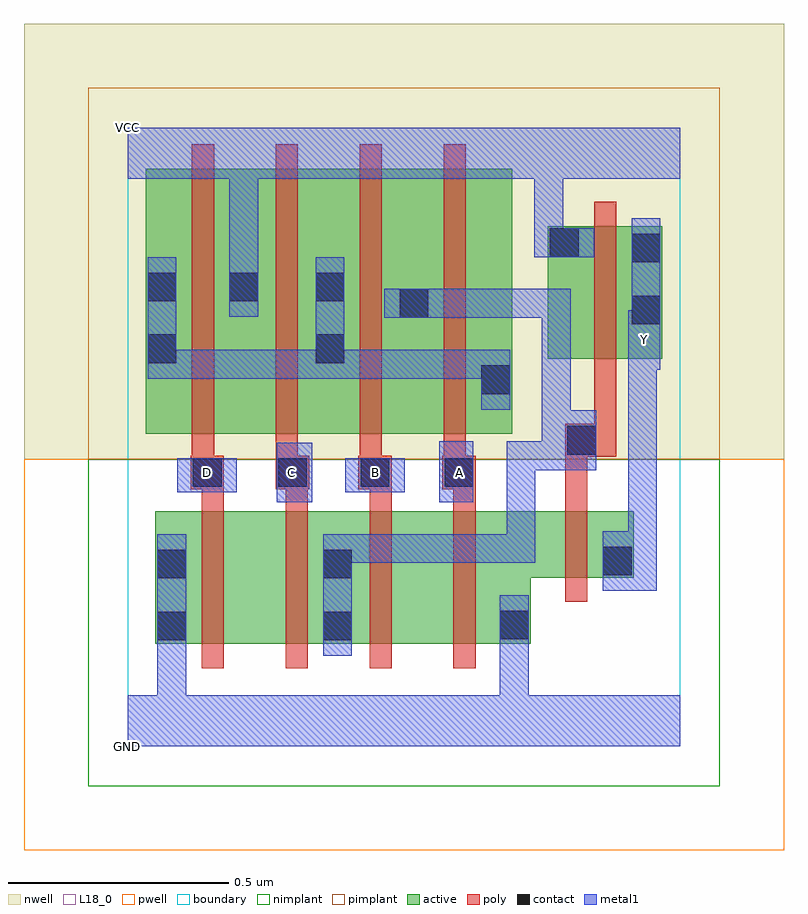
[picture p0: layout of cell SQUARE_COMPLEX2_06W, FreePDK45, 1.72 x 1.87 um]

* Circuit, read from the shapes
.subckt SQUARE_COMPLEX2_06W A B C D GND VCC Y
M1 n1 D GND VSUBS nfet w=0.3u l=0.05u
M2 n2 C n1 VSUBS nfet w=0.3u l=0.05u
M3 n3 B n2 VSUBS nfet w=0.3u l=0.05u
M4 GND A n3 VSUBS nfet w=0.3u l=0.05u
M5 Y n2 GND VSUBS nfet w=0.15u l=0.05u
M6 VCC D n4 n5 pfet w=0.6u l=0.05u
M7 n4 C VCC n5 pfet w=0.6u l=0.05u
M8 n2 B n4 n5 pfet w=0.6u l=0.05u
M9 n4 A n2 n5 pfet w=0.6u l=0.05u
M10 Y n2 VCC n5 pfet w=0.3u l=0.05u
.ends

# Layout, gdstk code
import gdstk
lib = gdstk.Library(unit=1e-6, precision=1e-09)
def R(c, l, rs):  # rectangles x0, y0, x1, y1
    for r in rs: c.add(gdstk.rectangle(r[:2], r[2:], *l))
def A(c, l, x, y, w, h, nx, ny, dx, dy):  # array of equal rectangles
    R(c, l, [(x+i*dx, y+j*dy, x+i*dx+w, y+j*dy+h) for i in range(nx) for j in range(ny)])
active = (1, 0)
pwell = (2, 0)
nwell = (3, 0)
nimplant = (4, 0)
pimplant = (5, 0)
poly = (9, 0)
contact = (10, 0)
metal1 = (11, 0)
L18_0 = (18, 0)
boundary = (235, 0)

square_complex2_06w = lib.new_cell('SQUARE_COMPLEX2_06W')
R(square_complex2_06w, active, [(0.062,0.232,0.287,0.532), (0.062,0.232,0.137,0.532), (0.287,0.232,0.512,0.532), (0.437,0.232,0.667,0.532), (0.437,0.232,0.512,0.45), (0.667,0.232,0.912,0.532), (0.837,0.232,0.912,0.442), (0.837,0.382,1.145,0.532), (1.07,0.382,1.145,0.532), (0.04,0.707,0.3,1.307), (0.04,0.707,0.115,1.2), (0.225,0.707,0.495,1.307), (0.225,0.707,0.3,1.305), (0.42,0.707,0.495,1.2), (0.42,0.707,0.685,1.307), (0.61,0.707,0.87,1.307), (0.61,0.707,0.685,1.2), (0.795,0.707,0.87,1.047), (0.95,0.877,1.21,1.177), (1.135,0.877,1.21,1.165), (0.95,0.965,1.025,1.177)])
R(square_complex2_06w, pwell, [(-0.235,-0.235,1.485,0.65)])
R(square_complex2_06w, nwell, [(-0.235,0.65,1.485,1.635)])
R(square_complex2_06w, nimplant, [(-0.09,-0.09,1.34,0.65)])
R(square_complex2_06w, pimplant, [(-0.09,0.65,1.34,1.49)])
A(square_complex2_06w, poly, 0.167, 0.177, 0.05, 0.41, 4, 1, 0.19, 0)
A(square_complex2_06w, poly, 0.167, 0.537, 0.05, 0.095, 4, 1, 0.19, 0)
A(square_complex2_06w, poly, 0.145, 0.607, 0.05, 0.095, 4, 1, 0.19, 0)
A(square_complex2_06w, poly, 0.145, 0.652, 0.05, 0.71, 4, 1, 0.19, 0)
R(square_complex2_06w, poly, [(0.99,0.327,1.04,0.587), (0.99,0.537,1.04,0.705), (0.142,0.582,0.217,0.657), (0.335,0.582,0.41,0.657), (0.522,0.582,0.597,0.657), (0.712,0.582,0.787,0.657), (0.99,0.655,1.105,0.73), (1.055,0.68,1.105,0.872), (1.055,0.822,1.105,1.232)])
R(square_complex2_06w, contact, [(0.067,0.24,0.132,0.305), (0.442,0.24,0.507,0.305), (0.842,0.242,0.907,0.307), (0.067,0.38,0.132,0.445), (0.442,0.38,0.507,0.445), (1.075,0.387,1.14,0.452), (0.147,0.587,0.212,0.652), (0.34,0.587,0.405,0.652), (0.527,0.587,0.592,0.652), (0.717,0.587,0.782,0.652), (0.995,0.66,1.06,0.725), (0.8,0.797,0.865,0.862), (0.045,0.867,0.11,0.932), (0.425,0.867,0.49,0.932), (1.14,0.955,1.205,1.02), (0.615,0.97,0.68,1.035), (0.045,1.007,0.11,1.072), (0.23,1.007,0.295,1.072), (0.425,1.007,0.49,1.072), (1.14,1.095,1.205,1.16), (0.955,1.107,1.02,1.172)])
R(square_complex2_06w, metal1, [(0,0,1.25,0.115), (0.067,0.05,0.132,0.27), (0.842,0.05,0.907,0.115), (0.842,0.05,0.907,0.115), (0.842,0.05,0.907,0.115), (0.842,0.05,0.907,0.115), (0.842,0.05,0.907,0.272), (0.067,0.205,0.132,0.27), (0.067,0.205,0.132,0.27), (0.067,0.205,0.132,0.27), (0.067,0.205,0.132,0.27), (0.067,0.205,0.132,0.48), (0.442,0.205,0.507,0.48), (0.842,0.207,0.907,0.342), (1.075,0.352,1.197,0.487), (0.442,0.415,0.507,0.48), (0.442,0.415,0.507,0.48), (0.442,0.415,0.645,0.48), (0.58,0.415,0.645,0.48), (0.58,0.415,0.645,0.48), (0.58,0.415,0.645,0.48), (0.58,0.415,0.922,0.48), (0.857,0.415,0.922,0.48), (0.857,0.415,0.922,0.69), (1.132,0.422,1.197,0.917), (0.337,0.552,0.417,0.687), (0.705,0.552,0.782,0.69), (0.112,0.575,0.247,0.652), (0.492,0.575,0.627,0.652), (0.857,0.625,0.922,0.69), (0.857,0.625,1.002,0.69), (0.937,0.625,1.002,0.69), (0.937,0.625,1.06,0.69), (0.937,0.625,1.002,1.035), (0.995,0.625,1.06,0.76), (0.8,0.762,0.865,0.897), (0.045,0.832,0.11,0.897), (0.045,0.832,0.11,0.897), (0.045,0.832,0.11,1.107), (0.045,0.832,0.352,0.897), (0.287,0.832,0.352,0.897), (0.287,0.832,0.352,0.897), (0.287,0.832,0.352,0.897), (0.287,0.832,0.49,0.897), (0.425,0.832,0.49,0.897), (0.425,0.832,0.49,0.897), (0.425,0.832,0.49,1.107), (0.425,0.832,0.645,0.897), (0.58,0.832,0.645,0.897), (0.58,0.832,0.645,0.897), (0.58,0.832,0.645,0.897), (0.58,0.832,0.865,0.897), (1.132,0.852,1.205,0.987), (1.14,0.92,1.205,1.195), (1.14,0.922,1.205,0.987), (0.58,0.97,0.715,1.035), (0.65,0.97,0.715,1.035), (0.65,0.97,0.715,1.035), (0.65,0.97,0.852,1.035), (0.787,0.97,0.852,1.035), (0.787,0.97,1.002,1.035), (0.937,0.97,1.002,1.035), (0.937,0.97,1.002,1.035), (0.937,0.97,1.002,1.035), (0.23,0.972,0.295,1.107), (0.23,1.042,0.295,1.35), (0.92,1.107,0.985,1.172), (0.92,1.107,0.985,1.172), (0.92,1.107,0.985,1.35), (0.92,1.107,1.055,1.172), (0,1.285,1.25,1.4), (0.92,1.285,0.985,1.35), (0.92,1.285,0.985,1.35)])
A(square_complex2_06w, L18_0, 0.147, 0.587, 0.065, 0.065, 4, 1, 0.19, 0)
R(square_complex2_06w, L18_0, [(0,0,1.25,0.115), (0.067,0.05,0.132,0.27), (0.842,0.05,0.907,0.115), (0.842,0.05,0.907,0.115), (0.842,0.05,0.907,0.115), (0.842,0.05,0.907,0.115), (0.842,0.05,0.907,0.272), (0.067,0.205,0.132,0.27), (0.067,0.205,0.132,0.27), (0.067,0.205,0.132,0.27), (0.067,0.205,0.132,0.27), (0.067,0.205,0.132,0.48), (0.842,0.207,0.907,0.342), (1.075,0.352,1.197,0.487), (1.132,0.422,1.197,0.917), (0.337,0.552,0.417,0.687), (0.705,0.552,0.782,0.69), (0.112,0.575,0.247,0.652), (0.492,0.575,0.627,0.652), (1.132,0.852,1.205,0.987), (1.137,0.887,1.202,0.952), (1.14,0.92,1.205,1.195), (1.14,0.922,1.205,0.987), (0.23,0.972,0.295,1.107), (0.23,1.042,0.295,1.35), (0.92,1.107,0.985,1.172), (0.92,1.107,0.985,1.172), (0.92,1.107,1.055,1.172), (0.92,1.107,0.985,1.35), (0,1.285,1.25,1.4), (0.92,1.285,0.985,1.35), (0.92,1.285,0.985,1.35)])
R(square_complex2_06w, boundary, [(0,0,1.25,1.4)])
square_complex2_06w.add(gdstk.Label('A', (0.75,0.62), layer=11, texttype=0))
square_complex2_06w.add(gdstk.Label('B', (0.56,0.62), layer=11, texttype=0))
square_complex2_06w.add(gdstk.Label('C', (0.37,0.62), layer=11, texttype=0))
square_complex2_06w.add(gdstk.Label('D', (0.18,0.62), layer=11, texttype=0))
square_complex2_06w.add(gdstk.Label('Y', (1.17,0.92), layer=11, texttype=0))
square_complex2_06w.add(gdstk.Label('VCC', (0,1.4), layer=11, texttype=0))
square_complex2_06w.add(gdstk.Label('GND', (0,0), layer=11, texttype=0))

lib.write_gds('SQUARE_COMPLEX2_06W.gds')
